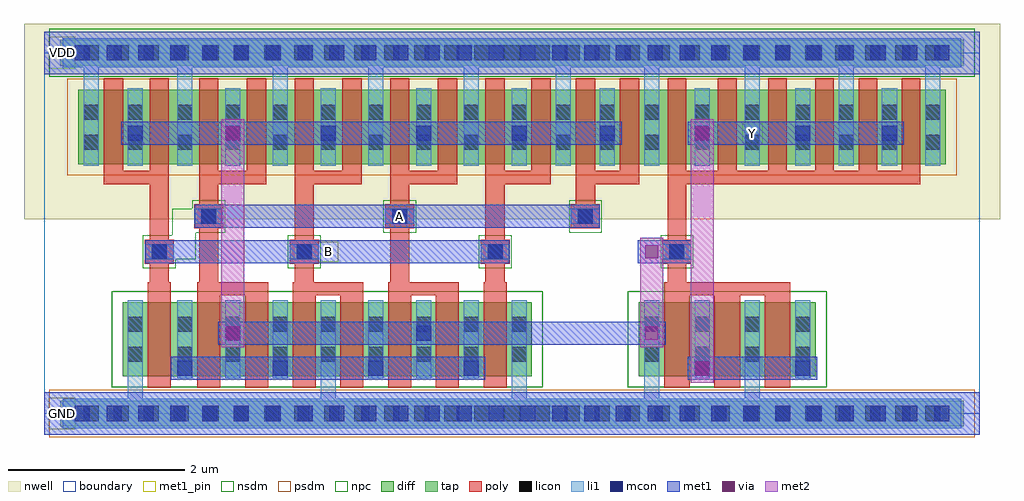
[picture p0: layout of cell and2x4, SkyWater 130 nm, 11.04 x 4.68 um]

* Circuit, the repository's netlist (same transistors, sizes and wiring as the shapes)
** sch_path: /foss/designs/and2x4.sch
.subckt and2x4 A B VDD GND Y
*.PININFO A:I B:I VDD:B GND:B Y:O
XM2 net1 A net2 GND sky130_fd_pr__nfet_01v8 L=0.26 W=3.36 nf=4
XM3 net1 A VDD VDD sky130_fd_pr__pfet_01v8 L=0.22 W=5.04 nf=6
XM5 Y net1 GND GND sky130_fd_pr__nfet_01v8 L=0.29 W=2.52 nf=3
XM4 net1 B VDD VDD sky130_fd_pr__pfet_01v8 L=0.22 W=5.04 nf=6
XM6 Y net1 VDD VDD sky130_fd_pr__pfet_01v8 L=0.21 W=5.04 nf=6
XM1 net2 B GND GND sky130_fd_pr__nfet_01v8 L=0.26 W=3.36 nf=4
.ends

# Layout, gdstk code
import gdstk
lib = gdstk.Library(unit=1e-6, precision=1e-09)
def R(c, l, rs):  # rectangles x0, y0, x1, y1
    for r in rs: c.add(gdstk.rectangle(r[:2], r[2:], *l))
def A(c, l, x, y, w, h, nx, ny, dx, dy):  # array of equal rectangles
    R(c, l, [(x+i*dx, y+j*dy, x+i*dx+w, y+j*dy+h) for i in range(nx) for j in range(ny)])
nwell = (64, 20)
diff = (65, 20)
tap = (65, 44)
poly = (66, 20)
licon = (66, 44)
li1 = (67, 20)
mcon = (67, 44)
met1_pin = (68, 16)
met1 = (68, 20)
via = (68, 44)
met2 = (69, 20)
nsdm = (93, 44)
psdm = (94, 20)
npc = (95, 20)
boundary = (235, 4)

and2x4 = lib.new_cell('and2x4')
R(and2x4, nwell, [(-0.23,2.2,10.81,4.41)])
R(and2x4, diff, [(0.885,0.42,5.515,1.26), (6.725,0.42,8.725,1.26), (0.385,2.82,10.195,3.66)])
R(and2x4, tap, [(0.18,-0.145,10.4,0.145), (0.18,3.935,10.4,4.225)])
A(and2x4, poly, 1.73, 0.29, 0.26, 1.045, 6, 1, 0.54, 0)
A(and2x4, poly, 7.01, 0.29, 0.29, 1.045, 3, 1, 0.57, 0)
A(and2x4, poly, 1.73, 1.335, 0.8, 0.15, 3, 1, 1.08, 0)
A(and2x4, poly, 1.75, 2.595, 0.76, 0.15, 3, 1, 1.08, 0)
A(and2x4, poly, 1.75, 2.745, 0.22, 1.045, 7, 1, 0.54, 0)
A(and2x4, poly, 5.51, 2.745, 0.22, 1.045, 3, 1, 0.5, 0)
A(and2x4, poly, 7.05, 2.745, 0.21, 1.045, 3, 1, 0.57, 0)
A(and2x4, poly, 8.72, 2.745, 0.21, 1.045, 3, 1, 0.49, 0)
R(and2x4, poly, [(1.17,0.29,1.43,1.485), (4.97,0.29,5.23,1.485), (7.01,1.335,8.44,1.485), (1.19,1.485,1.41,1.695), (1.75,1.485,1.97,2.095), (2.83,1.485,3.05,1.695), (3.91,1.485,4.13,2.095), (4.99,1.485,5.21,1.695), (7.05,1.485,7.26,1.695), (1.135,1.695,1.465,1.965), (2.775,1.695,3.105,1.965), (4.935,1.695,5.265,1.965), (6.99,1.695,7.32,1.965), (1.19,1.965,1.41,2.595), (2.83,1.965,3.05,2.595), (4.99,1.965,5.21,2.595), (7.05,1.965,7.26,2.595), (1.695,2.095,2.025,2.365), (3.855,2.095,4.185,2.365), (5.955,2.095,6.285,2.365), (1.75,2.365,1.97,2.595), (3.91,2.365,4.13,2.595), (6.01,2.365,6.23,2.595), (0.67,2.595,1.41,2.745), (4.99,2.595,5.73,2.745), (6.01,2.595,6.73,2.745), (7.05,2.595,9.91,2.745), (0.67,2.745,0.89,3.79), (1.19,2.745,1.41,3.79)])
A(and2x4, licon, 0.445, -0.085, 0.17, 0.17, 29, 2, 0.34, 4.08)
A(and2x4, licon, 1.505, 0.585, 0.17, 0.17, 8, 2, 0.54, 0.34)
A(and2x4, licon, 6.785, 0.585, 0.17, 0.17, 4, 2, 0.57, 0.34)
A(and2x4, licon, 1.505, 2.985, 0.17, 0.17, 8, 2, 0.54, 0.34)
A(and2x4, licon, 5.785, 2.985, 0.17, 0.17, 3, 2, 0.5, 0.34)
A(and2x4, licon, 7.355, 2.985, 0.17, 0.17, 3, 2, 0.57, 0.34)
A(and2x4, licon, 8.985, 2.985, 0.17, 0.17, 3, 2, 0.49, 0.34)
R(and2x4, licon, [(0.945,0.585,1.115,0.755), (0.945,0.925,1.115,1.095), (1.215,1.745,1.385,1.915), (2.855,1.745,3.025,1.915), (5.015,1.745,5.185,1.915), (7.07,1.745,7.24,1.915), (1.775,2.145,1.945,2.315), (3.935,2.145,4.105,2.315), (6.035,2.145,6.205,2.315), (0.445,2.985,0.615,3.155), (0.945,2.985,1.115,3.155), (0.445,3.325,0.615,3.495), (0.945,3.325,1.115,3.495)])
A(and2x4, li1, 1.505, 0.4, 0.17, 0.88, 3, 1, 0.54, 0)
A(and2x4, li1, 3.665, 0.4, 0.17, 0.88, 3, 1, 0.54, 0)
A(and2x4, li1, 1.505, 2.8, 0.17, 1.115, 4, 1, 1.08, 0)
A(and2x4, li1, 2.045, 2.8, 0.17, 0.88, 4, 1, 1.08, 0)
R(and2x4, li1, [(0.21,-0.165,10.37,0.165), (0.945,0.165,1.115,1.28), (3.125,0.165,3.295,1.28), (5.285,0.165,5.455,1.28), (6.785,0.165,6.955,1.28), (7.925,0.165,8.095,1.28), (7.355,0.4,7.525,1.28), (8.495,0.4,8.665,1.28), (1.135,1.745,1.465,1.915), (2.775,1.745,3.105,1.915), (4.935,1.745,5.265,1.915), (6.99,1.745,7.32,1.915), (1.695,2.145,2.025,2.315), (3.855,2.145,4.185,2.315), (5.955,2.145,6.285,2.315), (0.445,2.8,0.615,3.915), (0.945,2.8,1.115,3.68), (5.785,2.8,5.955,3.915), (6.285,2.8,6.455,3.68), (6.785,2.8,6.955,3.915), (7.355,2.8,7.525,3.68), (7.925,2.8,8.095,3.915), (8.495,2.8,8.665,3.68), (8.985,2.8,9.155,3.915), (9.475,2.8,9.645,3.68), (9.965,2.8,10.135,3.915), (0.21,3.915,10.37,4.245)])
A(and2x4, mcon, 0.345, -0.085, 0.17, 0.17, 28, 2, 0.36, 4.08)
A(and2x4, mcon, 1.505, 0.425, 0.17, 0.17, 4, 1, 1.08, 0)
A(and2x4, mcon, 2.045, 3.085, 0.17, 0.17, 4, 1, 1.08, 0)
R(and2x4, mcon, [(7.355,0.425,7.525,0.595), (8.495,0.425,8.665,0.595), (2.045,0.825,2.215,0.995), (4.205,0.825,4.375,0.995), (1.215,1.745,1.385,1.915), (2.855,1.745,3.025,1.915), (5.015,1.745,5.185,1.915), (7.07,1.745,7.24,1.915), (1.775,2.145,1.945,2.315), (3.935,2.145,4.105,2.315), (6.035,2.145,6.205,2.315), (0.945,3.085,1.115,3.255), (6.285,3.085,6.455,3.255), (7.355,3.085,7.525,3.255), (8.495,3.085,8.665,3.255), (9.475,3.085,9.645,3.255)])
R(and2x4, met1_pin, [(0.05,-0.18,0.35,0.18), (3.095,1.715,3.325,1.945), (3.905,2.115,4.135,2.345), (7.895,3.055,8.125,3.285), (0.05,3.9,0.35,4.26)])
R(and2x4, met1, [(0,-0.24,10.58,0.24), (1.43,0.38,4.99,0.64), (7.28,0.38,8.74,0.64), (1.97,0.78,7.03,1.04), (1.14,1.7,5.26,1.96), (6.71,1.7,7.315,1.96), (1.7,2.1,6.28,2.36), (0.87,3.04,6.53,3.3), (7.28,3.04,9.72,3.3), (0,3.84,10.58,4.32)])
R(and2x4, via, [(7.365,0.435,7.515,0.585), (2.055,0.835,2.205,0.985), (6.795,0.835,6.945,0.985), (6.795,1.755,6.945,1.905), (2.055,3.095,2.205,3.245), (7.365,3.095,7.515,3.245)])
R(and2x4, met2, [(7.31,0.35,7.57,3.33), (2,0.75,2.26,3.33), (6.74,0.75,7,1.99)])
R(and2x4, nsdm, [(0.76,0.295,5.64,1.385), (6.6,0.295,8.85,1.385), (0.055,3.81,10.525,4.35)])
R(and2x4, psdm, [(0.055,-0.27,10.525,0.27), (0.26,2.695,10.32,3.785)])
R(and2x4, npc, [(1.115,1.645,1.485,1.745), (2.755,1.645,3.125,2.015), (4.915,1.645,5.285,2.015), (6.97,1.645,7.34,2.015), (1.115,1.745,1.715,2.015), (1.445,2.015,1.715,2.045), (1.445,2.045,2.045,2.315), (3.835,2.045,4.205,2.415), (5.935,2.045,6.305,2.415), (1.675,2.315,2.045,2.415)])
R(and2x4, boundary, [(0,0,10.58,4.08)])
and2x4.add(gdstk.Label('A', (4.02,2.23), layer=68, texttype=5))
and2x4.add(gdstk.Label('B', (3.21,1.83), layer=68, texttype=5))
and2x4.add(gdstk.Label('VDD', (0.2,4.08), layer=68, texttype=5))
and2x4.add(gdstk.Label('GND', (0.2,0), layer=68, texttype=5))
and2x4.add(gdstk.Label('Y', (8.01,3.17), layer=68, texttype=5))

lib.write_gds('and2x4.gds')
